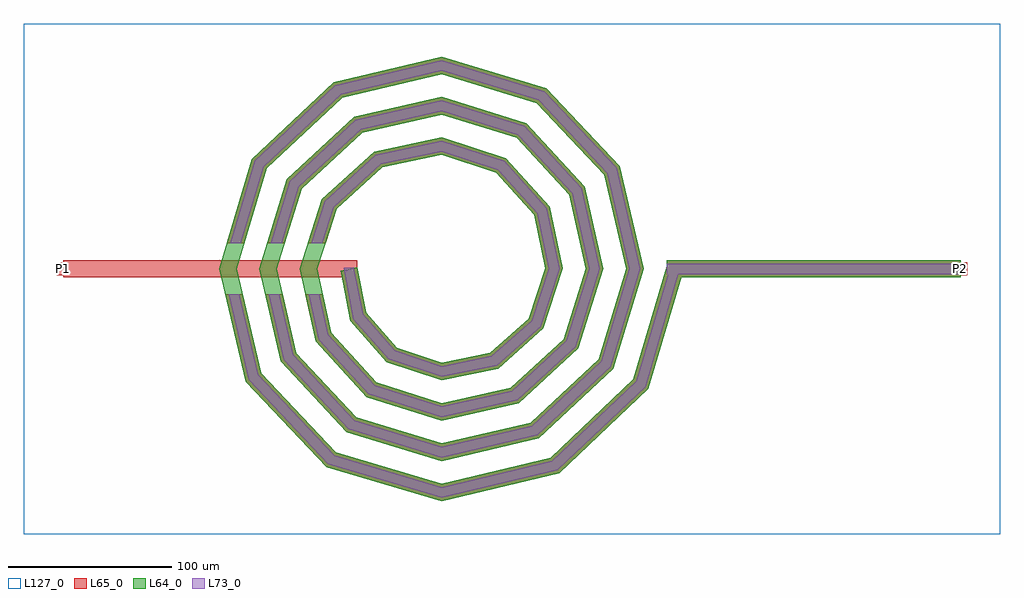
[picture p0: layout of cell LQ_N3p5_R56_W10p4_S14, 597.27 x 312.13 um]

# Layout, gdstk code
import gdstk
lib = gdstk.Library(unit=1e-6, precision=1e-09)
def R(c, l, rs):  # rectangles x0, y0, x1, y1
    for r in rs: c.add(gdstk.rectangle(r[:2], r[2:], *l))
def P(c, l, *ps):  # polygons
    for p in ps: c.add(gdstk.Polygon(p, *l))
L64_0 = (64, 0)
L65_0 = (65, 0)
L73_0 = (73, 0)
L127_0 = (127, 0)

lq_n3p5_r56_w10p4_s14 = lib.new_cell('LQ_N3p5_R56_W10p4_S14')
R(lq_n3p5_r56_w10p4_s14, L64_0, [(137.824,-5.2,317.824,5.2)])
P(lq_n3p5_r56_w10p4_s14, L64_0, [(-46.006,-26.968),(-27.397,-48.132),(0.328,-57.439),(30.023,-51.365),(53.459,-30.508),(63.607,0.299),(56.721,33.083),(33.615,58.788),(0.275,69.776),(-36.148,62.075),(-64.12,36.719),(-75.945,0.254),(-67.428,-39.215),(-39.82,-69.453),(0.236,-82.115),(42.285,-72.779),(74.788,-42.919),(88.284,0.22),(78.129,45.357),(46.016,80.124),(0.207,94.454),(-48.431,83.479),(-85.461,49.111),(-100.623,0.195),(-88.828,-51.506),(-52.206,-90.798),(0.184,-106.793),(54.581,-94.176),(96.137,-55.299),(112.963,0.175),(99.524,57.658),(58.392,101.475),(0.166,119.133),(-60.736,104.872),(-106.815,61.484),(-125.303,0.158),(-110.219,-63.814),(-64.575,-112.154),(0.151,-131.473),(66.893,-115.565),(117.494,-67.666),(138.04,1.481),(148.009,-1.481),(126.669,-73.302),(72.018,-125.035),(0.151,-142.236),(-70.222,-121.322),(-119.695,-68.927),(-136.066,0.158),(-115.975,67.144),(-65.835,114.356),(0.166,129.895),(64.065,110.627),(109.016,62.742),(123.725,0.175),(105.279,-60.988),(59.649,-103.677),(0.184,-117.555),(-57.911,-99.93),(-98.338,-56.555),(-111.384,0.195),(-94.581,54.836),(-53.46,93.001),(0.207,105.214),(51.761,89.231),(87.663,50.363),(99.043,0.22),(83.88,-48.688),(47.265,-82.327),(0.236,-92.873),(-45.617,-78.528),(-76.991,-44.165),(-86.702,0.254),(-73.175,42.548),(-41.062,71.657),(0.275,80.531),(39.481,67.819),(66.324,37.957),(74.36,0.299),(62.462,-36.418),(34.847,-60.993),(0.328,-68.188),(-33.36,-57.101),(-55.665,-31.732),(-61.744,-1.009),(-51.542,1.009)])
R(lq_n3p5_r56_w10p4_s14, L65_0, [(-231.443,-5.2,-51.443,5.2), (137.824,-5.2,317.824,5.2), (-235.443,-4,-227.443,4), (313.824,-4,321.824,4)])
P(lq_n3p5_r56_w10p4_s14, L65_0, [(-110.219,-63.815),(-64.575,-112.154),(0.151,-131.473),(66.893,-115.565),(117.494,-67.666),(138.04,1.481),(148.009,-1.481),(126.669,-73.302),(72.018,-125.036),(0.151,-142.236),(-70.222,-121.322),(-119.695,-68.927),(-132.332,-15.6),(-121.644,-15.6)],
  [(-88.828,-51.506),(-52.206,-90.798),(0.184,-106.793),(54.582,-94.176),(96.137,-55.299),(112.963,0.175),(99.524,57.658),(58.392,101.475),(0.166,119.133),(-60.736,104.872),(-106.815,61.484),(-120.577,15.6),(-131.434,15.6),(-115.975,67.144),(-65.835,114.356),(0.166,129.895),(64.065,110.627),(109.016,62.742),(123.725,0.175),(105.279,-60.988),(59.649,-103.677),(0.184,-117.555),(-57.911,-99.93),(-98.339,-56.555),(-107.753,-15.6),(-97.082,-15.6)],
  [(-67.428,-39.215),(-39.82,-69.453),(0.236,-82.115),(42.285,-72.779),(74.788,-42.919),(88.284,0.221),(78.13,45.357),(46.016,80.124),(0.207,94.454),(-48.431,83.479),(-85.461,49.111),(-95.766,15.6),(-106.647,15.6),(-94.581,54.836),(-53.46,93.001),(0.207,105.214),(51.761,89.231),(87.663,50.363),(99.043,0.221),(83.88,-48.688),(47.265,-82.327),(0.236,-92.873),(-45.617,-78.528),(-76.991,-44.165),(-83.236,-15.6),(-72.59,-15.6)],
  [(-27.397,-48.132),(0.329,-57.439),(30.023,-51.365),(53.459,-30.508),(63.607,0.299),(56.721,33.083),(33.615,58.788),(0.275,69.776),(-36.148,62.075),(-64.12,36.719),(-70.875,15.6),(-81.794,15.6),(-73.175,42.548),(-41.063,71.657),(0.275,80.531),(39.482,67.819),(66.324,37.957),(74.36,0.299),(62.462,-36.418),(34.847,-60.993),(0.329,-68.188),(-33.36,-57.101),(-55.665,-31.733),(-61.744,-1.009),(-51.542,1.009),(-46.006,-26.968)])
R(lq_n3p5_r56_w10p4_s14, L73_0, [(137.824,-3.2,317.824,3.2)])
P(lq_n3p5_r56_w10p4_s14, L73_0, [(-112.041,-64.798),(-65.661,-113.917),(0.093,-133.543),(67.879,-117.387),(119.259,-68.75),(139.957,0.911),(146.092,0.911),(124.905,-72.218),(71.032,-123.214),(0.093,-140.166),(-69.136,-119.559),(-117.873,-67.943),(-130.276,-15.6),(-123.699,-15.6)],
  [(-90.657,-52.477),(-53.303,-92.555),(0.113,-108.863),(55.556,-96.003),(97.895,-56.393),(115.033,0.107),(101.35,58.636),(59.483,103.235),(0.102,121.203),(-61.717,106.695),(-108.576,62.572),(-122.665,15.6),(-129.346,15.6),(-114.213,66.055),(-64.854,112.532),(0.102,127.826),(62.974,108.867),(107.191,61.765),(121.656,0.107),(103.521,-59.894),(58.675,-101.85),(0.113,-115.485),(-56.814,-98.174),(-96.51,-55.584),(-105.701,-15.6),(-99.134,-15.6)],
  [(-69.267,-40.167),(-40.935,-71.198),(0.145,-84.184),(43.243,-74.615),(76.537,-44.028),(90.353,0.136),(79.963,46.32),(47.121,81.875),(0.127,96.523),(-49.398,85.31),(-87.215,50.212),(-97.859,15.6),(-104.555,15.6),(-92.827,53.735),(-52.493,91.169),(0.127,103.145),(50.657,87.48),(85.83,49.401),(96.974,0.136),(82.132,-47.579),(46.308,-80.491),(0.145,-90.804),(-44.502,-76.783),(-75.152,-43.213),(-81.189,-15.6),(-74.638,-15.6)],
  [(-28.544,-49.857),(0.202,-59.506),(30.951,-53.217),(55.19,-31.645),(65.675,0.184),(58.568,34.021),(34.743,60.525),(0.169,71.844),(-37.093,63.918),(-65.861,37.84),(-72.974,15.6),(-79.694,15.6),(-71.433,41.427),(-40.117,69.814),(0.169,78.463),(38.353,66.083),(64.477,37.02),(72.292,0.184),(60.73,-35.282),(33.92,-59.142),(0.202,-66.121),(-32.213,-55.377),(-53.808,-30.816),(-59.782,0.621),(-53.504,0.621),(-47.864,-27.884)])
R(lq_n3p5_r56_w10p4_s14, L127_0, [(-255.443,-162.236,341.824,149.895)])
lq_n3p5_r56_w10p4_s14.add(gdstk.Label('P2', (317.824,0), layer=65, texttype=0))
lq_n3p5_r56_w10p4_s14.add(gdstk.Label('P1', (-231.443,0), layer=65, texttype=0))
lq_n3p5_r56_w10p4_s14.add(gdstk.Label('P2', (321.824,0), layer=145, texttype=0))
lq_n3p5_r56_w10p4_s14.add(gdstk.Label('P1', (-235.443,0), layer=145, texttype=0))

lib.write_gds('LQ_N3p5_R56_W10p4_S14.gds')
